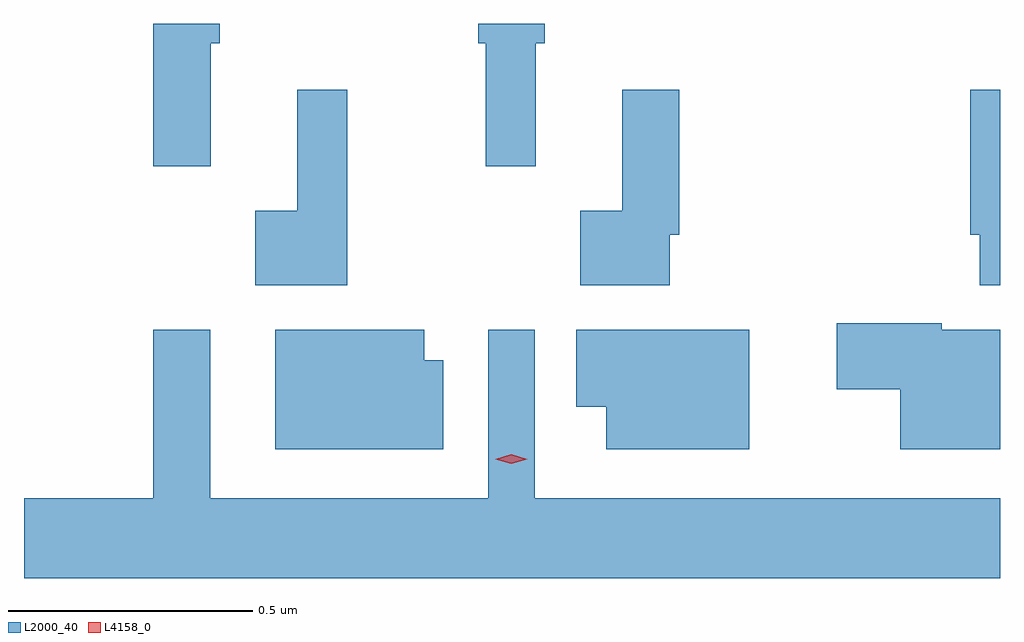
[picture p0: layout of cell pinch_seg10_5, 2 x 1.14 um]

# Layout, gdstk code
import gdstk
lib = gdstk.Library(unit=1e-6, precision=1e-09)
def P(c, l, *ps):  # polygons
    for p in ps: c.add(gdstk.Polygon(p, *l))
L2000_40 = (2000, 40)
L4158_0 = (4158, 0)

pinch_seg10_5 = lib.new_cell('pinch_seg10_5')
P(pinch_seg10_5, L2000_40, [(1101.449,1262.784),(1101.467,1262.784),(1101.467,1262.824),(1101.331,1262.824),(1101.331,1262.532),(1101.449,1262.532)],
  [(1102.115,1262.784),(1102.133,1262.784),(1102.133,1262.824),(1101.997,1262.824),(1101.997,1262.784),(1102.012,1262.784),(1102.012,1262.532),(1102.115,1262.532)],
  [(1101.728,1262.689),(1101.626,1262.689),(1101.626,1262.441),(1101.54,1262.441),(1101.54,1262.288),(1101.728,1262.288)],
  [(1103.066,1262.689),(1103.005,1262.689),(1103.005,1262.392),(1103.025,1262.392),(1103.025,1262.288),(1103.066,1262.288)],
  [(1102.389,1262.392),(1102.409,1262.392),(1102.409,1262.689),(1102.292,1262.689),(1102.292,1262.441),(1102.206,1262.441),(1102.206,1262.288),(1102.389,1262.288)],
  [(1103.066,1262.197),(1102.947,1262.197),(1102.947,1262.21),(1102.731,1262.21),(1102.731,1262.075),(1102.862,1262.075),(1102.862,1261.952),(1103.066,1261.952)],
  [(1103.066,1261.852),(1102.113,1261.852),(1102.113,1262.197),(1102.017,1262.197),(1102.017,1261.852),(1101.448,1261.852),(1101.448,1262.197),(1101.331,1262.197),(1101.331,1261.852),(1101.066,1261.852),(1101.066,1261.688),(1103.066,1261.688)],
  [(1102.552,1262.197),(1102.198,1262.197),(1102.198,1262.039),(1102.259,1262.039),(1102.259,1261.952),(1102.552,1261.952)],
  [(1101.925,1262.135),(1101.886,1262.135),(1101.886,1262.197),(1101.581,1262.197),(1101.581,1261.952),(1101.925,1261.952)])
P(pinch_seg10_5, L4158_0, [(1102.064,1261.922),(1102.032,1261.932),(1102.031,1261.932),(1102.032,1261.932),(1102.064,1261.942),(1102.097,1261.932),(1102.097,1261.932),(1102.097,1261.932)])

lib.write_gds('pinch_seg10_5.gds')
